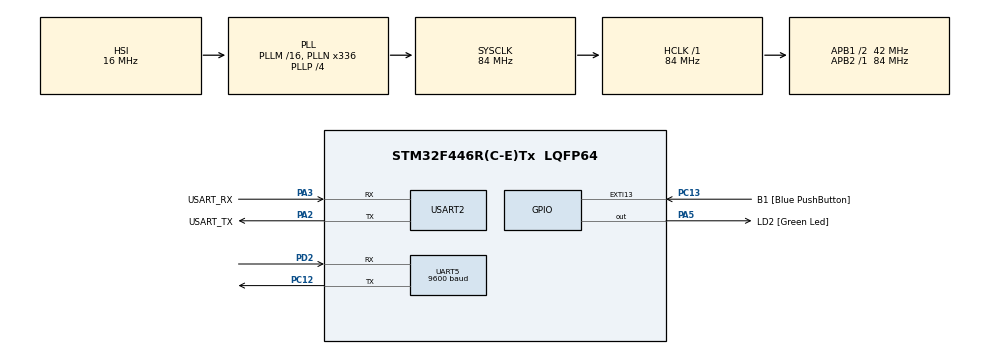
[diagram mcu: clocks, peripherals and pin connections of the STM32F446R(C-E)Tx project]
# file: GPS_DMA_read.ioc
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Dma.Request0=UART5_RX
Dma.UART5_RX.0.Direction=DMA_PERIPH_TO_MEMORY
Dma.UART5_RX.0.FIFOMode=DMA_FIFOMODE_DISABLE
Dma.UART5_RX.0.Instance=DMA1_Stream0
Dma.UART5_RX.0.MemDataAlignment=DMA_MDATAALIGN_BYTE
Dma.UART5_RX.0.MemInc=DMA_MINC_ENABLE
Dma.UART5_RX.0.Mode=DMA_NORMAL
Dma.UART5_RX.0.PeriphDataAlignment=DMA_PDATAALIGN_BYTE
Dma.UART5_RX.0.PeriphInc=DMA_PINC_DISABLE
Dma.UART5_RX.0.Priority=DMA_PRIORITY_LOW
Mcu.Family=STM32F4
Mcu.Name=STM32F446R(C-E)Tx
Mcu.Package=LQFP64
NVIC.DMA1_Stream0_IRQn=true\:0\:0\:false\:false\:true\:false\:true\:true
NVIC.PriorityGroup=NVIC_PRIORITYGROUP_0
PA13.GPIO_Label=TMS
PA13.Mode=Serial_Wire
PA13.Signal=SYS_JTMS-SWDIO
PA14.GPIO_Label=TCK
PA14.Mode=Serial_Wire
PA14.Signal=SYS_JTCK-SWCLK
PA2.GPIO_Label=USART_TX
PA2.Mode=Asynchronous
PA2.Signal=USART2_TX
PA3.GPIO_Label=USART_RX
PA3.Mode=Asynchronous
PA3.Signal=USART2_RX
PA5.GPIO_Label=LD2 [Green Led]
PA5.Signal=GPIO_Output
PB3.GPIO_Label=SWO
PB3.Signal=SYS_JTDO-SWO
PC12.Mode=Asynchronous
PC12.Signal=UART5_TX
PC13.GPIO_Label=B1 [Blue PushButton]
PC13.GPIO_ModeDefaultEXTI=GPIO_MODE_IT_FALLING
PC13.Signal=GPXTI13
PC14-OSC32_IN.Mode=LSE-External-Oscillator
PC14-OSC32_IN.Signal=RCC_OSC32_IN
PC15-OSC32_OUT.Mode=LSE-External-Oscillator
PC15-OSC32_OUT.Signal=RCC_OSC32_OUT
PD2.Mode=Asynchronous
PD2.Signal=UART5_RX
PH0-OSC_IN.Mode=HSE-External-Oscillator
PH0-OSC_IN.Signal=RCC_OSC_IN
PH1-OSC_OUT.Mode=HSE-External-Oscillator
PH1-OSC_OUT.Signal=RCC_OSC_OUT
ProjectManager.HeapSize=0x200
ProjectManager.StackSize=0x400
ProjectManager.TargetToolchain=STM32CubeIDE
RCC.48MHZClocksFreq_Value=84000000
RCC.AHBFreq_Value=84000000
RCC.APB1CLKDivider=RCC_HCLK_DIV2
RCC.APB1Freq_Value=42000000
RCC.APB1TimFreq_Value=84000000
RCC.APB2Freq_Value=84000000
RCC.APB2TimFreq_Value=84000000
RCC.CortexFreq_Value=84000000
RCC.FLatency-AdvancedSettings=FLASH_LATENCY_2
RCC.HCLKFreq_Value=84000000
RCC.HSE_VALUE=8000000
RCC.HSI_VALUE=16000000
RCC.PLLN=336
RCC.PLLP=RCC_PLLP_DIV4
RCC.SYSCLKFreq_VALUE=84000000
RCC.SYSCLKSource=RCC_SYSCLKSOURCE_PLLCLK
RCC.USBFreq_Value=168000000
RCC.VCOOutputFreq_Value=336000000
UART5.BaudRate=9600
UART5.VirtualMode=Asynchronous
USART2.VirtualMode=VM_ASYNC
board=NUCLEO-F446RE

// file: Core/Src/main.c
/* USER CODE BEGIN Header */
/**
  ******************************************************************************
  * @file           : main.c
  * @brief          : Main program body
  ******************************************************************************
  * @attention
  *
  * Copyright (c) 2023 STMicroelectronics.
  * All rights reserved.
  *
  * This software is licensed under terms that can be found in the LICENSE file
  * in the root directory of this software component.
  * If no LICENSE file comes with this software, it is provided AS-IS.
  *
  ******************************************************************************
  */
/* USER CODE END Header */
#include "main.h"

/* USER CODE BEGIN Includes */
#include "L80M39.h"
#include <stdlib.h>
/* USER CODE END Includes */

/* USER CODE BEGIN PD */
#define BUFFER_LENGTH 600
/* USER CODE END PD */

UART_HandleTypeDef huart5;
UART_HandleTypeDef huart2;
DMA_HandleTypeDef hdma_uart5_rx;

/* USER CODE BEGIN PV */
L80M39_t gps;
uint8_t UART1_rxBuffer[BUFFER_LENGTH] = {};
/* USER CODE END PV */

void SystemClock_Config(void);
static void MX_GPIO_Init(void);
static void MX_DMA_Init(void);
static void MX_USART2_UART_Init(void);
static void MX_UART5_Init(void);

/* USER CODE BEGIN 0 */
#ifdef __GNUC__
#define PUTCHAR_PROTOTYPE int __io_putchar(int ch)
#else
#define PUTCHAR_PROTOTYPE int fputc(int ch, FILE *f)
#endif

PUTCHAR_PROTOTYPE
{
  HAL_UART_Transmit(&huart2, (uint8_t *)&ch, 1, HAL_MAX_DELAY);
  return ch;
}

void HAL_UART_RxCpltCallback(UART_HandleTypeDef *huart)
{
	if (gps.antennaStatus == ANT_UNKNOWN) {
		printf("Antenna status is UNKNOWN.\n\r");
	} else if (gps.antennaStatus == OPEN) {
		printf("Antenna status is OPEN.\n\r");
	}

	printf("Datetime is: %.2f\n\r", gps.datetime);
	printf("Lat: %.8f %c Long: %.8f %c\n\r", gps.latitude, gps.latitudeLoc, gps.longitude, gps.longitudeLoc);

    L80M39_parse(&gps, UART1_rxBuffer, BUFFER_LENGTH);
    HAL_UART_Receive_DMA(&huart5, &UART1_rxBuffer[0], BUFFER_LENGTH);
}
/* USER CODE END 0 */

int main(void)
{

  /* MCU Configuration--------------------------------------------------------*/

  /* Reset of all peripherals, Initializes the Flash interface and the Systick. */
  HAL_Init();

  /* Configure the system clock */
  SystemClock_Config();

  /* Initialize all configured peripherals */
  MX_GPIO_Init();
  MX_DMA_Init();
  MX_USART2_UART_Init();
  MX_UART5_Init();
  /* USER CODE BEGIN 2 */
  HAL_UART_Receive_DMA (&huart5, &UART1_rxBuffer[0], BUFFER_LENGTH);
  /* USER CODE END 2 */

  /* Infinite loop */
  while (1)
  {

    /* USER CODE BEGIN 3 */

	/*if (HAL_UART_Transmit(&huart2, UART1_rxBuffer, 82, HAL_MAX_DELAY)) {
		Error_Handler();
		HAL_Delay(500);
	}
	HAL_Delay(5000);*/
	  /*printf("%s\r\n", UART1_rxBuffer);
	  HAL_Delay(1000);*/
  }
  /* USER CODE END 3 */
}

void SystemClock_Config(void)
{
  RCC_OscInitTypeDef RCC_OscInitStruct = {0};
  RCC_ClkInitTypeDef RCC_ClkInitStruct = {0};

  /** Configure the main internal regulator output voltage
  */
  __HAL_RCC_PWR_CLK_ENABLE();
  __HAL_PWR_VOLTAGESCALING_CONFIG(PWR_REGULATOR_VOLTAGE_SCALE3);

  /** Initializes the RCC Oscillators according to the specified parameters
  * in the RCC_OscInitTypeDef structure.
  */
  RCC_OscInitStruct.OscillatorType = RCC_OSCILLATORTYPE_HSI;
  RCC_OscInitStruct.HSIState = RCC_HSI_ON;
  RCC_OscInitStruct.HSICalibrationValue = RCC_HSICALIBRATION_DEFAULT;
  RCC_OscInitStruct.PLL.PLLState = RCC_PLL_ON;
  RCC_OscInitStruct.PLL.PLLSource = RCC_PLLSOURCE_HSI;
  RCC_OscInitStruct.PLL.PLLM = 16;
  RCC_OscInitStruct.PLL.PLLN = 336;
  RCC_OscInitStruct.PLL.PLLP = RCC_PLLP_DIV4;
  RCC_OscInitStruct.PLL.PLLQ = 2;
  RCC_OscInitStruct.PLL.PLLR = 2;
  if (HAL_RCC_OscConfig(&RCC_OscInitStruct) != HAL_OK)
  {
    Error_Handler();
  }

  /** Initializes the CPU, AHB and APB buses clocks
  */
  RCC_ClkInitStruct.ClockType = RCC_CLOCKTYPE_HCLK|RCC_CLOCKTYPE_SYSCLK
                              |RCC_CLOCKTYPE_PCLK1|RCC_CLOCKTYPE_PCLK2;
  RCC_ClkInitStruct.SYSCLKSource = RCC_SYSCLKSOURCE_PLLCLK;
  RCC_ClkInitStruct.AHBCLKDivider = RCC_SYSCLK_DIV1;
  RCC_ClkInitStruct.APB1CLKDivider = RCC_HCLK_DIV2;
  RCC_ClkInitStruct.APB2CLKDivider = RCC_HCLK_DIV1;

  if (HAL_RCC_ClockConfig(&RCC_ClkInitStruct, FLASH_LATENCY_2) != HAL_OK)
  {
    Error_Handler();
  }
}

static void MX_UART5_Init(void)
{

  huart5.Instance = UART5;
  huart5.Init.BaudRate = 9600;
  huart5.Init.WordLength = UART_WORDLENGTH_8B;
  huart5.Init.StopBits = UART_STOPBITS_1;
  huart5.Init.Parity = UART_PARITY_NONE;
  huart5.Init.Mode = UART_MODE_TX_RX;
  huart5.Init.HwFlowCtl = UART_HWCONTROL_NONE;
  huart5.Init.OverSampling = UART_OVERSAMPLING_16;
  if (HAL_UART_Init(&huart5) != HAL_OK)
  {
    Error_Handler();
  }

}

static void MX_USART2_UART_Init(void)
{

  huart2.Instance = USART2;
  huart2.Init.BaudRate = 115200;
  huart2.Init.WordLength = UART_WORDLENGTH_8B;
  huart2.Init.StopBits = UART_STOPBITS_1;
  huart2.Init.Parity = UART_PARITY_NONE;
  huart2.Init.Mode = UART_MODE_TX_RX;
  huart2.Init.HwFlowCtl = UART_HWCONTROL_NONE;
  huart2.Init.OverSampling = UART_OVERSAMPLING_16;
  if (HAL_UART_Init(&huart2) != HAL_OK)
  {
    Error_Handler();
  }

}

static void MX_DMA_Init(void)
{

  /* DMA controller clock enable */
  __HAL_RCC_DMA1_CLK_ENABLE();

  /* DMA interrupt init */
  /* DMA1_Stream0_IRQn interrupt configuration */
  HAL_NVIC_SetPriority(DMA1_Stream0_IRQn, 0, 0);
  HAL_NVIC_EnableIRQ(DMA1_Stream0_IRQn);

}

static void MX_GPIO_Init(void)
{
  GPIO_InitTypeDef GPIO_InitStruct = {0};

  /* GPIO Ports Clock Enable */
  __HAL_RCC_GPIOC_CLK_ENABLE();
  __HAL_RCC_GPIOH_CLK_ENABLE();
  __HAL_RCC_GPIOA_CLK_ENABLE();
  __HAL_RCC_GPIOD_CLK_ENABLE();
  __HAL_RCC_GPIOB_CLK_ENABLE();

  /*Configure GPIO pin Output Level */
  HAL_GPIO_WritePin(LD2_GPIO_Port, LD2_Pin, GPIO_PIN_RESET);

  /*Configure GPIO pin : B1_Pin */
  GPIO_InitStruct.Pin = B1_Pin;
  GPIO_InitStruct.Mode = GPIO_MODE_IT_FALLING;
  GPIO_InitStruct.Pull = GPIO_NOPULL;
  HAL_GPIO_Init(B1_GPIO_Port, &GPIO_InitStruct);

  /*Configure GPIO pin : LD2_Pin */
  GPIO_InitStruct.Pin = LD2_Pin;
  GPIO_InitStruct.Mode = GPIO_MODE_OUTPUT_PP;
  GPIO_InitStruct.Pull = GPIO_NOPULL;
  GPIO_InitStruct.Speed = GPIO_SPEED_FREQ_LOW;
  HAL_GPIO_Init(LD2_GPIO_Port, &GPIO_InitStruct);

}

void Error_Handler(void)
{
  __disable_irq();
  while (1)
  {
  }
}
